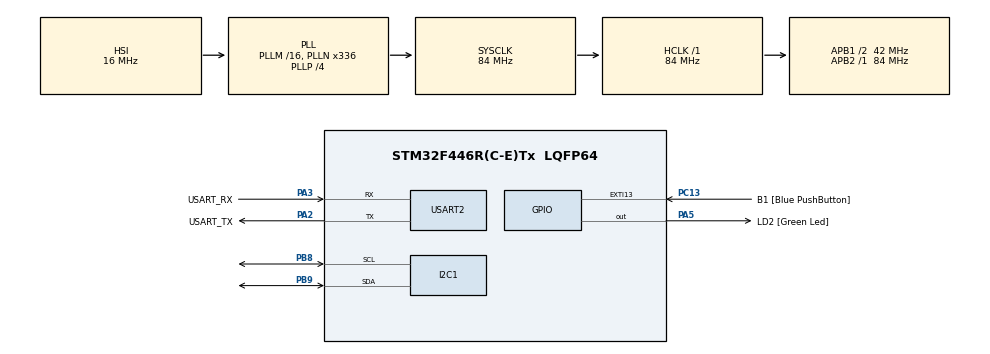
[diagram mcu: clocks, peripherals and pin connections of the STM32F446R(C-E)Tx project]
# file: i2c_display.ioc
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Mcu.Family=STM32F4
Mcu.Name=STM32F446R(C-E)Tx
Mcu.Package=LQFP64
NVIC.PriorityGroup=NVIC_PRIORITYGROUP_0
PA13.GPIO_Label=TMS
PA13.Mode=Serial_Wire
PA13.Signal=SYS_JTMS-SWDIO
PA14.GPIO_Label=TCK
PA14.Mode=Serial_Wire
PA14.Signal=SYS_JTCK-SWCLK
PA2.GPIO_Label=USART_TX
PA2.Mode=Asynchronous
PA2.Signal=USART2_TX
PA3.GPIO_Label=USART_RX
PA3.Mode=Asynchronous
PA3.Signal=USART2_RX
PA5.GPIO_Label=LD2 [Green Led]
PA5.Signal=GPIO_Output
PB3.GPIO_Label=SWO
PB3.Signal=SYS_JTDO-SWO
PB8.Mode=I2C
PB8.Signal=I2C1_SCL
PB9.Mode=I2C
PB9.Signal=I2C1_SDA
PC13.GPIO_Label=B1 [Blue PushButton]
PC13.GPIO_ModeDefaultEXTI=GPIO_MODE_IT_FALLING
PC13.Signal=GPXTI13
PC14-OSC32_IN.Mode=LSE-External-Oscillator
PC14-OSC32_IN.Signal=RCC_OSC32_IN
PC15-OSC32_OUT.Mode=LSE-External-Oscillator
PC15-OSC32_OUT.Signal=RCC_OSC32_OUT
PH0-OSC_IN.Mode=HSE-External-Oscillator
PH0-OSC_IN.Signal=RCC_OSC_IN
PH1-OSC_OUT.Mode=HSE-External-Oscillator
PH1-OSC_OUT.Signal=RCC_OSC_OUT
ProjectManager.HeapSize=0x200
ProjectManager.StackSize=0x400
ProjectManager.TargetToolchain=STM32CubeIDE
RCC.48MHZClocksFreq_Value=84000000
RCC.AHBFreq_Value=84000000
RCC.APB1CLKDivider=RCC_HCLK_DIV2
RCC.APB1Freq_Value=42000000
RCC.APB1TimFreq_Value=84000000
RCC.APB2Freq_Value=84000000
RCC.APB2TimFreq_Value=84000000
RCC.CortexFreq_Value=84000000
RCC.FLatency-AdvancedSettings=FLASH_LATENCY_2
RCC.HCLKFreq_Value=84000000
RCC.HSE_VALUE=8000000
RCC.HSI_VALUE=16000000
RCC.PLLN=336
RCC.PLLP=RCC_PLLP_DIV4
RCC.SYSCLKFreq_VALUE=84000000
RCC.SYSCLKSource=RCC_SYSCLKSOURCE_PLLCLK
RCC.USBFreq_Value=168000000
RCC.VCOOutputFreq_Value=336000000
USART2.VirtualMode=VM_ASYNC
board=NUCLEO-F446RE

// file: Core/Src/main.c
/* USER CODE BEGIN Header */
/**
  ******************************************************************************
  * @file           : main.c
  * @brief          : Main program body
  ******************************************************************************
  * @attention
  *
  * Copyright (c) 2023 STMicroelectronics.
  * All rights reserved.
  *
  * This software is licensed under terms that can be found in the LICENSE file
  * in the root directory of this software component.
  * If no LICENSE file comes with this software, it is provided AS-IS.
  *
  ******************************************************************************
  */
/* USER CODE END Header */
#include "main.h"

/* USER CODE BEGIN PD */
#define SLAVE_ADDRESS_LCD 0x4E
/* USER CODE END PD */

I2C_HandleTypeDef hi2c1;

UART_HandleTypeDef huart2;

void SystemClock_Config(void);
static void MX_GPIO_Init(void);
static void MX_USART2_UART_Init(void);
static void MX_I2C1_Init(void);

int main(void)
{

  /* MCU Configuration--------------------------------------------------------*/

  /* Reset of all peripherals, Initializes the Flash interface and the Systick. */
  HAL_Init();

  /* Configure the system clock */
  SystemClock_Config();

  /* Initialize all configured peripherals */
  MX_GPIO_Init();
  MX_USART2_UART_Init();
  MX_I2C1_Init();
  /* USER CODE BEGIN 2 */
  int row=0;
  int col=0;
  lcd_init ();

    lcd_send_string ("HELLO WORLD");

    HAL_Delay(1000);

    lcd_put_cur(1, 0);

    lcd_send_string("from CTECH");

    HAL_Delay(2000);

    lcd_clear ();
  /* USER CODE END 2 */

  /* Infinite loop */
  while (1)
  {

    /* USER CODE BEGIN 3 */
	  for (int i=0;i<128;i++)
	  	  {
	  		  lcd_put_cur(row, col);

	  		  lcd_send_data(i+48);

	  		  col++;

	  		  if (col > 15) {row++; col = 0;}
	  		  if (row > 1) row=0;

	  		  HAL_Delay(250);
	  	  }
  }
  /* USER CODE END 3 */
}

void SystemClock_Config(void)
{
  RCC_OscInitTypeDef RCC_OscInitStruct = {0};
  RCC_ClkInitTypeDef RCC_ClkInitStruct = {0};

  /** Configure the main internal regulator output voltage
  */
  __HAL_RCC_PWR_CLK_ENABLE();
  __HAL_PWR_VOLTAGESCALING_CONFIG(PWR_REGULATOR_VOLTAGE_SCALE3);

  /** Initializes the RCC Oscillators according to the specified parameters
  * in the RCC_OscInitTypeDef structure.
  */
  RCC_OscInitStruct.OscillatorType = RCC_OSCILLATORTYPE_HSI;
  RCC_OscInitStruct.HSIState = RCC_HSI_ON;
  RCC_OscInitStruct.HSICalibrationValue = RCC_HSICALIBRATION_DEFAULT;
  RCC_OscInitStruct.PLL.PLLState = RCC_PLL_ON;
  RCC_OscInitStruct.PLL.PLLSource = RCC_PLLSOURCE_HSI;
  RCC_OscInitStruct.PLL.PLLM = 16;
  RCC_OscInitStruct.PLL.PLLN = 336;
  RCC_OscInitStruct.PLL.PLLP = RCC_PLLP_DIV4;
  RCC_OscInitStruct.PLL.PLLQ = 2;
  RCC_OscInitStruct.PLL.PLLR = 2;
  if (HAL_RCC_OscConfig(&RCC_OscInitStruct) != HAL_OK)
  {
    Error_Handler();
  }

  /** Initializes the CPU, AHB and APB buses clocks
  */
  RCC_ClkInitStruct.ClockType = RCC_CLOCKTYPE_HCLK|RCC_CLOCKTYPE_SYSCLK
                              |RCC_CLOCKTYPE_PCLK1|RCC_CLOCKTYPE_PCLK2;
  RCC_ClkInitStruct.SYSCLKSource = RCC_SYSCLKSOURCE_PLLCLK;
  RCC_ClkInitStruct.AHBCLKDivider = RCC_SYSCLK_DIV1;
  RCC_ClkInitStruct.APB1CLKDivider = RCC_HCLK_DIV2;
  RCC_ClkInitStruct.APB2CLKDivider = RCC_HCLK_DIV1;

  if (HAL_RCC_ClockConfig(&RCC_ClkInitStruct, FLASH_LATENCY_2) != HAL_OK)
  {
    Error_Handler();
  }
}

static void MX_I2C1_Init(void)
{

  hi2c1.Instance = I2C1;
  hi2c1.Init.ClockSpeed = 100000;
  hi2c1.Init.DutyCycle = I2C_DUTYCYCLE_2;
  hi2c1.Init.OwnAddress1 = 0;
  hi2c1.Init.AddressingMode = I2C_ADDRESSINGMODE_7BIT;
  hi2c1.Init.DualAddressMode = I2C_DUALADDRESS_DISABLE;
  hi2c1.Init.OwnAddress2 = 0;
  hi2c1.Init.GeneralCallMode = I2C_GENERALCALL_DISABLE;
  hi2c1.Init.NoStretchMode = I2C_NOSTRETCH_DISABLE;
  if (HAL_I2C_Init(&hi2c1) != HAL_OK)
  {
    Error_Handler();
  }

}

static void MX_USART2_UART_Init(void)
{

  huart2.Instance = USART2;
  huart2.Init.BaudRate = 115200;
  huart2.Init.WordLength = UART_WORDLENGTH_8B;
  huart2.Init.StopBits = UART_STOPBITS_1;
  huart2.Init.Parity = UART_PARITY_NONE;
  huart2.Init.Mode = UART_MODE_TX_RX;
  huart2.Init.HwFlowCtl = UART_HWCONTROL_NONE;
  huart2.Init.OverSampling = UART_OVERSAMPLING_16;
  if (HAL_UART_Init(&huart2) != HAL_OK)
  {
    Error_Handler();
  }

}

static void MX_GPIO_Init(void)
{
  GPIO_InitTypeDef GPIO_InitStruct = {0};

  /* GPIO Ports Clock Enable */
  __HAL_RCC_GPIOC_CLK_ENABLE();
  __HAL_RCC_GPIOH_CLK_ENABLE();
  __HAL_RCC_GPIOA_CLK_ENABLE();
  __HAL_RCC_GPIOB_CLK_ENABLE();

  /*Configure GPIO pin Output Level */
  HAL_GPIO_WritePin(LD2_GPIO_Port, LD2_Pin, GPIO_PIN_RESET);

  /*Configure GPIO pin : B1_Pin */
  GPIO_InitStruct.Pin = B1_Pin;
  GPIO_InitStruct.Mode = GPIO_MODE_IT_FALLING;
  GPIO_InitStruct.Pull = GPIO_NOPULL;
  HAL_GPIO_Init(B1_GPIO_Port, &GPIO_InitStruct);

  /*Configure GPIO pin : LD2_Pin */
  GPIO_InitStruct.Pin = LD2_Pin;
  GPIO_InitStruct.Mode = GPIO_MODE_OUTPUT_PP;
  GPIO_InitStruct.Pull = GPIO_NOPULL;
  GPIO_InitStruct.Speed = GPIO_SPEED_FREQ_LOW;
  HAL_GPIO_Init(LD2_GPIO_Port, &GPIO_InitStruct);

}

void Error_Handler(void)
{
  __disable_irq();
  while (1)
  {
  }
}
